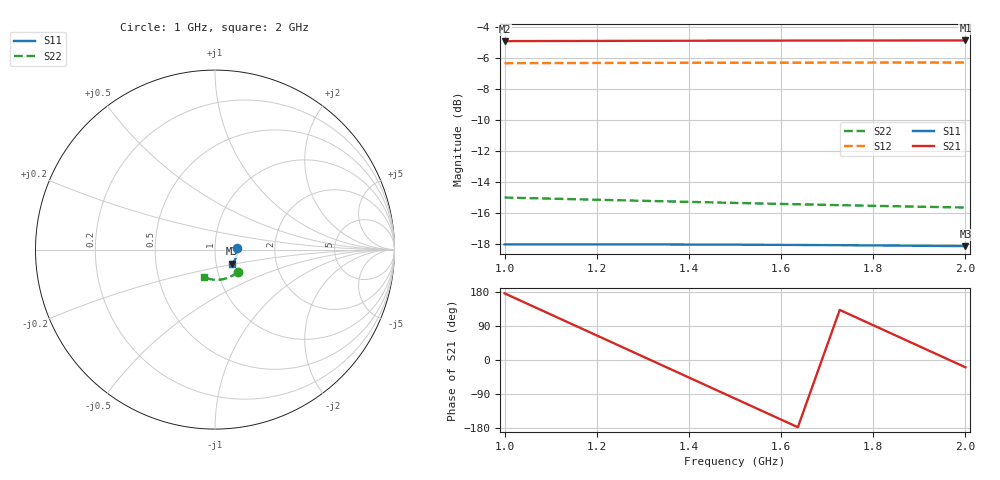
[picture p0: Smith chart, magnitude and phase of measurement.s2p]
! rfdeembed188 example: measurement
# Hz S RI R 50
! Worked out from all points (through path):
!   12 points, 1 GHz to 2 GHz, reference 50 ohm
!   highest |S21| = -4.89 dB at 2 GHz (marker M1); lowest = -4.9 dB at 1 GHz (marker M2)
!   lowest |S11| = -18.2 dB at 2 GHz (marker M3), VSWR 1.28, Z = 59.9 - j9.43 ohm
!   |S11| at or under -10 dB: start of sweep to end of sweep
!   |S22| runs from -15.7 to -15.0 dB; largest |S21 - S12| = 1
1e9  0.1252 0.00634  -0.565 0.0412  -0.3811 0.2934  0.1268 -0.1241
1.090909e9  0.1253 -0.00195  -0.3281 0.4624  -0.4813 0.00464  0.1122 -0.1358
1.181818e9  0.1249 -0.0102  0.1479 0.5477  -0.3872 -0.2864  0.0965 -0.1458
1.272727e9  0.124 -0.0185  0.5169 0.2348  -0.1366 -0.4622  0.0798 -0.1541
1.363636e9  0.1224 -0.0266  0.5104 -0.2493  0.1695 -0.4515  0.0624 -0.1606
1.454545e9  0.1203 -0.0346  0.1327 -0.5527  0.4075 -0.2584  0.0445 -0.1652
1.545455e9  0.1176 -0.0425  -0.3418 -0.4544  0.4811 0.0393  0.0262 -0.1679
1.636364e9  0.1143 -0.0501  -0.5683 -0.0257  0.3605 0.3214  0.00783 -0.1686
1.727273e9  0.1106 -0.0574  -0.3817 0.422  0.0941 0.4738  -0.0105 -0.1674
1.818182e9  0.1063 -0.0645  0.0824 0.5632  -0.2104 0.4349  -0.0286 -0.1642
1.909091e9  0.1016 -0.0712  0.4868 0.2951  -0.4301 0.2204  -0.0462 -0.1591
2e9  0.0964 -0.0775  0.5376 -0.1875  -0.4761 -0.0833  -0.0631 -0.1522
